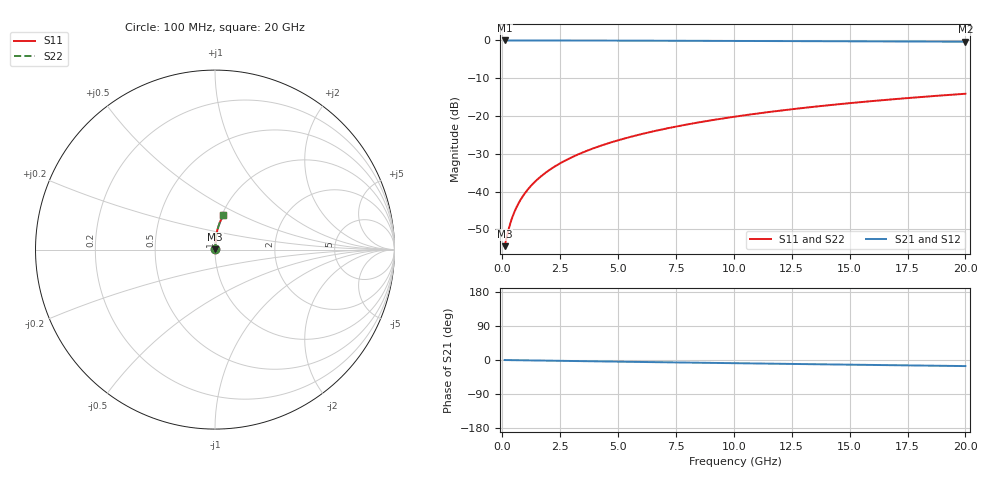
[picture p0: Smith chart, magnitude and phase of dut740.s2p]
! Touchstone file exported from HFSS 2024.1.0
!  File:  C:/UserFiles/LocalFiles/RDL_TSV_Batchsim/temp_RDL_bottom_740_1779859314.aedt
!  Generated:  01:24:48 PM May 27, 2026
!  Design:  RDL_bottom
!  Project:  temp_RDL_bottom_740_1779859314
!  Setup:  Setup1
!  Solution:  Sweep
! Variables:
!  dtsv = 10.80580581um
!  hbump = 3um
!  htsv = 54.11um
!  ldown = 185.94um
!  lrdl = 100um
!  p = 40
!  p1 = 43.74um
!  rhole = 1um
!  t = 450um
!  tdown = 3.02um
!  trdl = 3.915915916um
!  wdown = 15.66um
!  wrdl = 20um
# GHz S MA R 50.000000
! Terminal data exported
! Port[1] = RDL1_T1
! Port[2] = RDL1_T2
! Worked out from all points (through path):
!   200 points, 100 MHz to 20 GHz, reference 50 ohm
!   highest |S21| = -0.01 dB at 100 MHz (marker M1); lowest = -0.3 dB at 20 GHz (marker M2)
!   group delay of S21, straight-line fit = 2.22 ps
!   lowest |S11| = -54.5 dB at 100 MHz (marker M3), VSWR 1.00, Z = 50.2 + j0.0998 ohm
!   |S11| at or under -10 dB: start of sweep to end of sweep
!   |S22| runs from -54.5 to -14.1 dB; largest |S21 - S12| = 2.6e-15
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0.1  0.001893 31.7  0.9984 -0.1  0.9984 -0.1  0.001893 31.7
! Gamma 0 0 0 0
! Port Impedance 50 0 50 0
0.2  0.00257 50.4  0.9984 -0.2  0.9984 -0.2  0.00257 50.4
0.3  0.003395 60.4  0.9983 -0.3  0.9983 -0.3  0.003395 60.4
0.4  0.004271 66.3  0.9982 -0.4  0.9982 -0.4  0.004271 66.3
0.5  0.005165 70.1  0.9982 -0.5  0.9982 -0.5  0.005165 70.1
0.6  0.006067 72.8  0.9981 -0.5  0.9981 -0.5  0.006067 72.8
0.8  0.00788 76.3  0.998 -0.7  0.998 -0.7  0.00788 76.3
1.1  0.01062 79.5  0.9979 -1.0  0.9979 -1.0  0.01062 79.5
1.3  0.01246 80.9  0.9978 -1.2  0.9978 -1.2  0.01246 80.9
1.6  0.01524 82.4  0.9976 -1.4  0.9976 -1.4  0.01523 82.4
2.1  0.0199 83.9  0.9972 -1.9  0.9972 -1.9  0.0199 83.9
2.7  0.02554 84.9  0.9967 -2.4  0.9967 -2.4  0.02554 84.9
3.5  0.03315 85.6  0.9958 -3.1  0.9958 -3.1  0.03315 85.6
4.2  0.03988 85.9  0.9948 -3.7  0.9948 -3.7  0.03988 85.9
5  0.04764 86.0  0.9936 -4.4  0.9936 -4.4  0.04764 86.0
5.9  0.05647 85.9  0.9921 -5.1  0.9921 -5.1  0.05647 85.9
6.8  0.06538 85.6  0.9905 -5.9  0.9905 -5.9  0.06539 85.6
8.3  0.08038 84.9  0.9876 -7.1  0.9876 -7.1  0.08038 84.9
10.1  0.09852 83.8  0.9839 -8.5  0.9839 -8.5  0.09852 83.8
13.4  0.1318 81.5  0.9768 -11.1  0.9768 -11.1  0.1318 81.5
16.7  0.1647 78.9  0.9692 -13.6  0.9692 -13.6  0.1647 78.9
20  0.1968 76.3  0.9612 -16.1  0.9612 -16.1  0.1968 76.3
